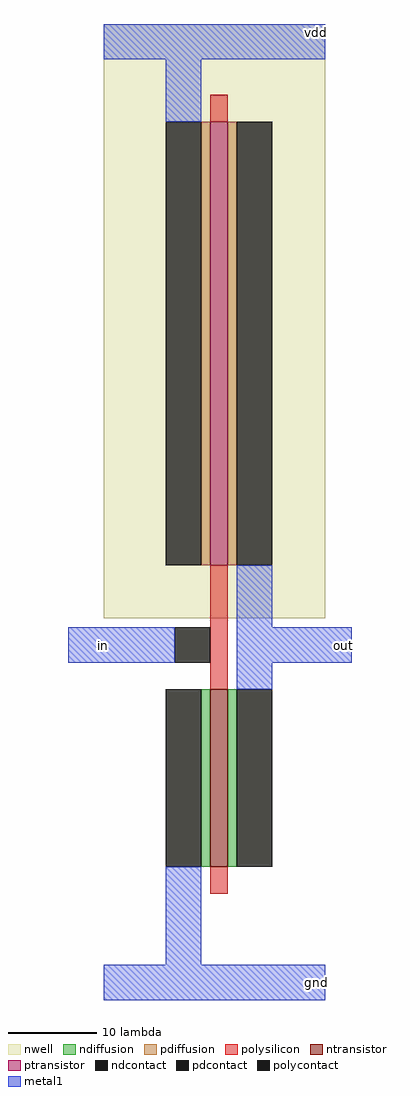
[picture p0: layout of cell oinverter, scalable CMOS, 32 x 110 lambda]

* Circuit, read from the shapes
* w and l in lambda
.subckt oinverter gnd in out vdd
M1 out in gnd VSUBS nfet w=20 l=2
M2 out in vdd n1 pfet w=50 l=2
.ends

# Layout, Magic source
magic
tech scmos
<< nwell >>
rect -8 -5 17 62
<< ntransistor >>
rect 4 -33 6 -13
<< ptransistor >>
rect 4 1 6 51
<< ndiffusion >>
rect 3 -33 4 -13
rect 6 -33 7 -13
<< pdiffusion >>
rect 3 1 4 51
rect 6 1 7 51
<< ndcontact >>
rect -1 -33 3 -13
rect 7 -33 11 -13
<< pdcontact >>
rect -1 1 3 51
rect 7 1 11 51
<< polysilicon >>
rect 4 51 6 54
rect 4 -13 6 1
rect 4 -36 6 -33
<< polycontact >>
rect 0 -10 4 -6
<< metal1 >>
rect -8 58 17 62
rect -1 51 3 58
rect 7 -6 11 1
rect -12 -10 0 -6
rect 7 -10 20 -6
rect 7 -13 11 -10
rect -1 -44 3 -33
rect -8 -48 17 -44
<< labels >>
rlabel metal1 -8 -8 -8 -8 3 in
rlabel metal1 19 -8 19 -8 7 out
rlabel metal1 16 61 16 61 6 vdd
rlabel metal1 16 -46 16 -46 8 gnd
<< end >>
